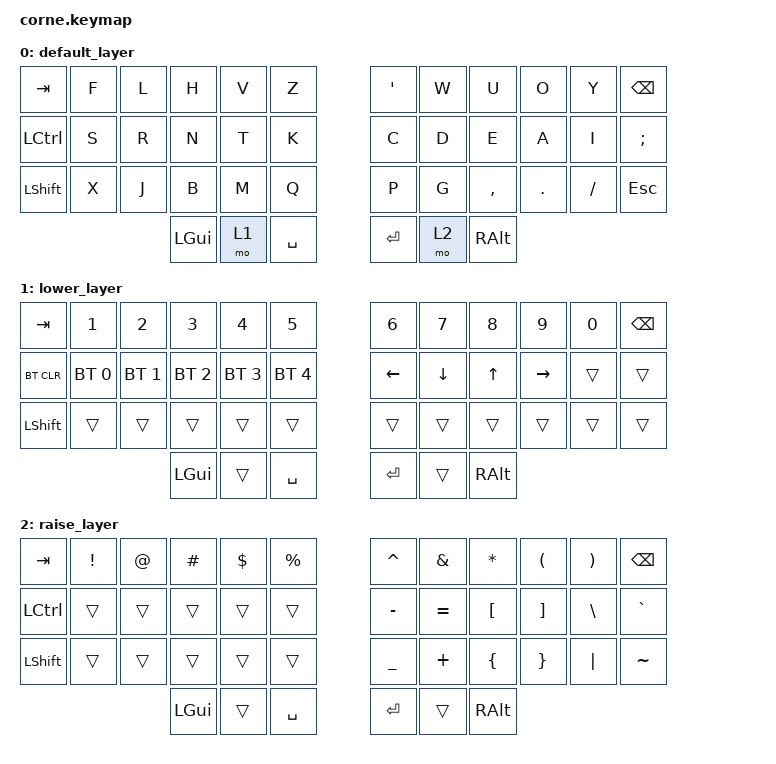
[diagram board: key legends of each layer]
/*
 * Copyright (c) 2020 The ZMK Contributors
 *
 * SPDX-License-Identifier: MIT
 */

#include <behaviors.dtsi>
#include <dt-bindings/zmk/keys.h>
#include <dt-bindings/zmk/bt.h>

/ {
        keymap {
                compatible = "zmk,keymap";

                default_layer {

// notes
// backspace should not be in the corner
// shift/ctrl generally neither

// should be switched to
    // -----------------------------------------------------------------------------------------
    // |  TAB |  F  |  L  |  H  |  V  |  Z  |   |  '  |  W   |  U  |  O  |  Y  | BKSP |
    // | CTRL |  S  |  R  |  N  |  T  |  K  |   |  C  |  D   |  E  |  A  |  I  |  ;   |
    // | SHFT |  X  |  J  |  B  |  M  |  Q  |   |  P  |  G   |  ,  |  .  |  /  | ESC  |
    //                    | GUI | LWR | SPC |   | ENT | RSE  | ALT |
                        bindings = <
   &kp TAB   &kp F &kp L &kp H &kp V &kp Z   &kp SQT &kp W  &kp U     &kp O   &kp Y    &kp BSPC
   &kp LCTRL &kp S &kp R &kp N &kp T &kp K   &kp C   &kp D  &kp E     &kp A   &kp I    &kp SEMI
   &kp LSHFT &kp X &kp J &kp B &kp M &kp Q   &kp P   &kp G  &kp COMMA &kp DOT &kp FSLH &kp ESC
                  &kp LGUI &mo 1 &kp SPACE   &kp RET &mo 2 &kp RALT
                        >;
                };
                lower_layer {
// -----------------------------------------------------------------------------------------
// |  TAB |  1  |  2  |  3  |  4  |  5  |   |  6  |  7  |  8  |  9  |  0  | BKSP |
// | BTCLR| BT1 | BT2 | BT3 | BT4 | BT5 |   | LFT | DWN |  UP | RGT |     |      |
// | SHFT |     |     |     |     |     |   |     |     |     |     |     |      |
//                    | GUI |     | SPC |   | ENT |     | ALT |

// should be changed to the following

// -----------------------------------------------------------------------------------------
// |  TAB |  7  |  8  |  9  |     |     |   |     | BT4 | BT5 | BT6?|     | BKSP |
// | BTCLR|  4  |  5  |  6  |     |     |   |     | BT1 | BT2 | BT3 |     |      |
// | SHFT |  1  |  2  |  3  |     |     |   | LEF | DWN |  UP | RGT |     |      |
//                    | GUI |     | SPC |   | ENT |     | ALT |

                        bindings = <
   &kp TAB    &kp N1       &kp N2       &kp N3       &kp N4       &kp N5         &kp N6   &kp N7   &kp N8 &kp N9    &kp N0 &kp BSPC
   &bt BT_CLR &bt BT_SEL 0 &bt BT_SEL 1 &bt BT_SEL 2 &bt BT_SEL 3 &bt BT_SEL 4   &kp LEFT &kp DOWN &kp UP &kp RIGHT &trans &trans
   &kp LSHFT  &trans       &trans       &trans       &trans       &trans         &trans   &trans   &trans &trans    &trans &trans
                                    &kp LGUI     &trans       &kp SPACE      &kp RET  &trans   &kp RALT
                        >;
                };

                raise_layer {
// -----------------------------------------------------------------------------------------
// |  TAB |  !  |  @  |  #  |  $  |  %  |   |  ^  |  &  |  *  |  (  |  )  | BKSP |
// | CTRL |     |     |     |     |     |   |  -  |  =  |  [  |  ]  |  \  |  `   |
// | SHFT |     |     |     |     |     |   |  _  |  +  |  {  |  }  | "|" |  ~   |
//                    | GUI |     | SPC |   | ENT |     | ALT |
                        bindings = <
   &kp  TAB  &kp EXCL &kp AT &kp HASH &kp DLLR &kp PRCNT   &kp CARET &kp AMPS  &kp ASTRK &kp LPAR &kp RPAR &kp BSPC
   &kp LCTRL &trans   &trans &trans   &trans   &trans      &kp MINUS &kp EQUAL &kp LBKT  &kp RBKT &kp BSLH &kp GRAVE
   &kp LSHFT &trans   &trans &trans   &trans   &trans      &kp UNDER &kp PLUS  &kp LBRC  &kp RBRC &kp PIPE &kp TILDE
                             &kp LGUI &trans   &kp SPACE   &kp RET   &trans    &kp RALT
                        >;
                };
        };
};
